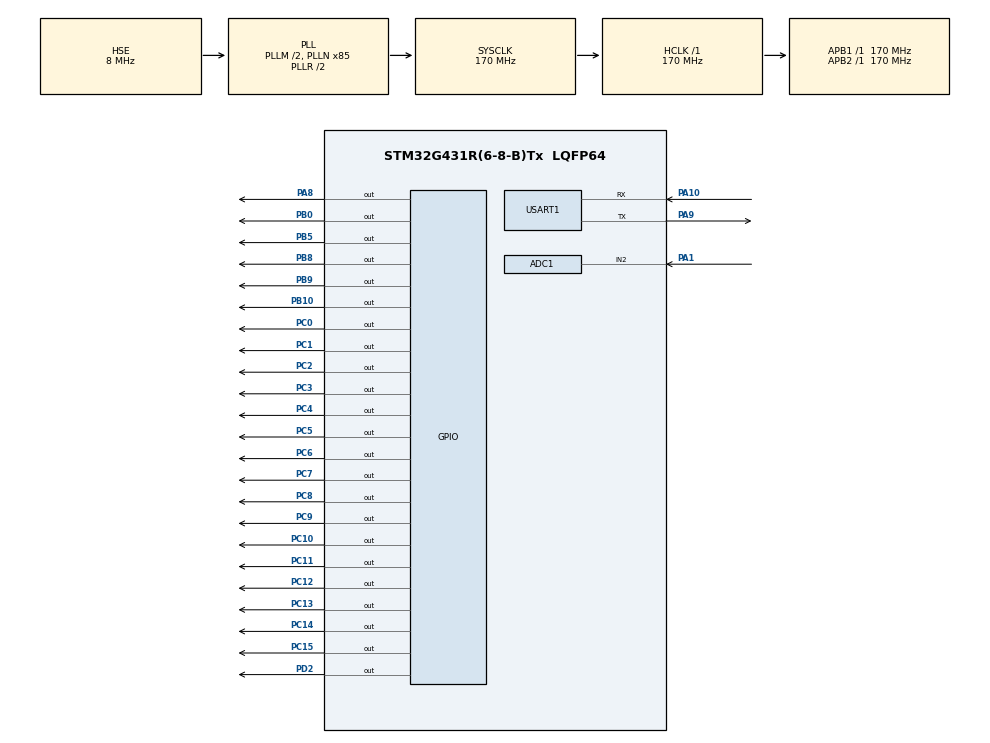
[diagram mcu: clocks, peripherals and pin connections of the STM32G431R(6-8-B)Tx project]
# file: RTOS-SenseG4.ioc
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ADC1.Channel-0\#ChannelRegularConversion=ADC_CHANNEL_2
ADC1.ContinuousConvMode=DISABLE
ADC1.NbrOfConversion=1
ADC1.NbrOfConversionFlag=1
ADC1.OffsetNumber-0\#ChannelRegularConversion=ADC_OFFSET_NONE
ADC1.Rank-0\#ChannelRegularConversion=1
ADC1.SamplingTime-0\#ChannelRegularConversion=ADC_SAMPLETIME_247CYCLES_5
ADC1.master=1
FREERTOS.Mutexes01=mutex_lcd,Dynamic,NULL;mutex_dht,Dynamic,NULL
FREERTOS.Queues01=Queue_LED_Cmd,8,1,1,Dynamic,NULL,NULL;Queue_UART_RX,16,32,1,Dynamic,NULL,NULL
FREERTOS.Tasks01=defaultTask,24,128,StartDefaultTask,Default,NULL,Dynamic,NULL,NULL;Task_UART_Cmd,40,256,StartTask_UART_Cmd,Default,NULL,Dynamic,NULL,NULL;Task_Sensor_Sam,32,256,StartTask_Sensor_Sample,Default,NULL,Dynamic,NULL,NULL;Task_LED_Ctrl,24,128,StartTask_LED_Ctrl,Default,NULL,Dynamic,NULL,NULL;Task_LCD_Refres,8,256,StartTask_LCD_Refresh,Default,NULL,Dynamic,NULL,NULL
FREERTOS.configTOTAL_HEAP_SIZE=6144
Mcu.Family=STM32G4
Mcu.Name=STM32G431R(6-8-B)Tx
Mcu.Package=LQFP64
NVIC.PriorityGroup=NVIC_PRIORITYGROUP_4
NVIC.TIM4_IRQn=true\:15\:0\:false\:false\:true\:false\:false\:true\:true
NVIC.TimeBase=TIM4_IRQn
NVIC.TimeBaseIP=TIM4
NVIC.USART1_IRQn=true\:5\:0\:true\:false\:true\:true\:true\:true\:true
PA1.Mode=IN2-Single-Ended
PA1.Signal=ADC1_IN2
PA10.Mode=Asynchronous
PA10.Signal=USART1_RX
PA13.Mode=Serial_Wire
PA13.Signal=SYS_JTMS-SWDIO
PA14.Mode=Serial_Wire
PA14.Signal=SYS_JTCK-SWCLK
PA8.Signal=GPIO_Output
PA9.Mode=Asynchronous
PA9.Signal=USART1_TX
PB0.Signal=GPIO_Output
PB10.PinState=GPIO_PIN_SET
PB10.Signal=GPIO_Output
PB5.Signal=GPIO_Output
PB8-BOOT0.Signal=GPIO_Output
PB9.Signal=GPIO_Output
PC0.Signal=GPIO_Output
PC1.Signal=GPIO_Output
PC10.PinState=GPIO_PIN_RESET
PC10.Signal=GPIO_Output
PC11.PinState=GPIO_PIN_RESET
PC11.Signal=GPIO_Output
PC12.PinState=GPIO_PIN_RESET
PC12.Signal=GPIO_Output
PC13.PinState=GPIO_PIN_RESET
PC13.Signal=GPIO_Output
PC14-OSC32_IN.PinState=GPIO_PIN_RESET
PC14-OSC32_IN.Signal=GPIO_Output
PC15-OSC32_OUT.PinState=GPIO_PIN_RESET
PC15-OSC32_OUT.Signal=GPIO_Output
PC2.Signal=GPIO_Output
PC3.Signal=GPIO_Output
PC4.Signal=GPIO_Output
PC5.Signal=GPIO_Output
PC6.Signal=GPIO_Output
PC7.Signal=GPIO_Output
PC8.PinState=GPIO_PIN_RESET
PC8.Signal=GPIO_Output
PC9.PinState=GPIO_PIN_RESET
PC9.Signal=GPIO_Output
PD2.Signal=GPIO_Output
PF0-OSC_IN.Mode=HSE-External-Oscillator
PF0-OSC_IN.Signal=RCC_OSC_IN
PF1-OSC_OUT.Mode=HSE-External-Oscillator
PF1-OSC_OUT.Signal=RCC_OSC_OUT
ProjectManager.HeapSize=0x200
ProjectManager.StackSize=0x400
ProjectManager.TargetToolchain=Makefile
RCC.ADC12Freq_Value=170000000
RCC.AHBFreq_Value=170000000
RCC.APB1Freq_Value=170000000
RCC.APB1TimFreq_Value=170000000
RCC.APB2Freq_Value=170000000
RCC.APB2TimFreq_Value=170000000
RCC.CortexFreq_Value=170000000
RCC.EXTERNAL_CLOCK_VALUE=12288000
RCC.HCLKFreq_Value=170000000
RCC.HSE_VALUE=8000000
RCC.HSI48_VALUE=48000000
RCC.HSI_VALUE=16000000
RCC.LSE_VALUE=32768
RCC.PLLM=RCC_PLLM_DIV2
RCC.PLLN=85
RCC.PLLSourceVirtual=RCC_PLLSOURCE_HSE
RCC.SYSCLKFreq_VALUE=170000000
RCC.SYSCLKSource=RCC_SYSCLKSOURCE_PLLCLK
RCC.USBFreq_Value=170000000
RCC.VCOOutputFreq_Value=340000000
USART1.VirtualMode-Asynchronous=VM_ASYNC
VP_FREERTOS_VS_CMSIS_V2.Mode=CMSIS_V2
VP_SYS_VS_DBSignals.Mode=DisableDeadBatterySignals
VP_SYS_VS_tim4.Mode=TIM4
board=custom

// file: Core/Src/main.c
/* USER CODE BEGIN Header */
/**
  ******************************************************************************
  * @file           : main.c
  * @brief          : Main program body
  * @project        : STM32G431 FreeRTOS Multi-Sensor Data Collector
  * @hardware       : CT117E-M4
  ******************************************************************************
  * @attention
  *
  * Copyright (c) 2026 STMicroelectronics.
  * All rights reserved.
  *
  * This software is licensed under terms that can be found in the LICENSE file
  * in the root directory of this software component.
  * If no LICENSE file comes with this software, it is provided AS-IS.
  ******************************************************************************
  */
/* USER CODE END Header */
#include "main.h"
#include "cmsis_os.h"
#include "adc.h"
#include "usart.h"
#include "gpio.h"

/* USER CODE BEGIN Includes */
#include "led.h"
#include "usart.h"
extern uint16_t usart_rx_idx;
#include "cmd.h"
#include "adc.h"
#include "lcd.h"
#include "lcd.h"
#include "dht11.h"
#include <stdio.h>
/* USER CODE END Includes */

/* USER CODE BEGIN PD */
#define DATA_REFRESH_DELAY 500U
/* USER CODE END PD */

/* USER CODE BEGIN PV */
float g_adc_val;
uint8_t g_led_cmd;
uint8_t g_temp, g_humi;
/* USER CODE END PV */

void SystemClock_Config(void);
void MX_FREERTOS_Init(void);

int main(void)
{

  /* MCU Configuration--------------------------------------------------------*/

  /* Reset of all peripherals, Initializes the Flash interface and the Systick. */
  HAL_Init();

  /* Configure the system clock */
  // SystemClock_Config(); // HSE unavailable, use HSI 16MHz

  /* Initialize all configured peripherals */
  MX_GPIO_Init();
  MX_USART1_UART_Init();
  MX_ADC1_Init();
  /* USER CODE BEGIN 2 */
  LED_AllOff();
  LCD_Init();
  LCD_Clear(Black);
  USART_StartReceiveIT();

  printf("====================================\r\n");
  printf("STM32G431 Multi-Sensor Terminal OK\r\n");
  printf("UART: 115200 8N1\r\n");
  printf("CMD: led on / led off / data\r\n");
  printf("====================================\r\n");

  LCD_ShowString(0, 0, "FreeRTOS Sensor Collector");
  DHT11_Init();

  /* Init scheduler */
  USART_StartReceiveIT();
  printf("System boot OK\r\n");

  osKernelInitialize();  /* Call init function for freertos objects (in freertos.c) */
  MX_FREERTOS_Init();

  /* Start scheduler */
  osKernelStart();

  /* We should never get here as control is now taken by the scheduler */
  /* Infinite loop */
  while (1)
  {

    /* USER CODE BEGIN 3 */
    /* Bare-metal code removed - handled by FreeRTOS tasks */
  }
  /* USER CODE END 3 */
}

void SystemClock_Config(void)
{
  RCC_OscInitTypeDef RCC_OscInitStruct = {0};
  RCC_ClkInitTypeDef RCC_ClkInitStruct = {0};

  /** Configure the main internal regulator output voltage
  */
  HAL_PWREx_ControlVoltageScaling(PWR_REGULATOR_VOLTAGE_SCALE1_BOOST);

  /** Initializes the RCC Oscillators according to the specified parameters
  * in the RCC_OscInitTypeDef structure.
  */
  RCC_OscInitStruct.OscillatorType = RCC_OSCILLATORTYPE_HSE;
  RCC_OscInitStruct.HSEState = RCC_HSE_ON;
  RCC_OscInitStruct.PLL.PLLState = RCC_PLL_ON;
  RCC_OscInitStruct.PLL.PLLSource = RCC_PLLSOURCE_HSE;
  RCC_OscInitStruct.PLL.PLLM = RCC_PLLM_DIV2;
  RCC_OscInitStruct.PLL.PLLN = 85;
  RCC_OscInitStruct.PLL.PLLP = RCC_PLLP_DIV2;
  RCC_OscInitStruct.PLL.PLLQ = RCC_PLLQ_DIV2;
  RCC_OscInitStruct.PLL.PLLR = RCC_PLLR_DIV2;
  if (HAL_RCC_OscConfig(&RCC_OscInitStruct) != HAL_OK)
  {
    Error_Handler();
  }

  /** Initializes the CPU, AHB and APB buses clocks
  */
  RCC_ClkInitStruct.ClockType = RCC_CLOCKTYPE_HCLK|RCC_CLOCKTYPE_SYSCLK
                              |RCC_CLOCKTYPE_PCLK1|RCC_CLOCKTYPE_PCLK2;
  RCC_ClkInitStruct.SYSCLKSource = RCC_SYSCLKSOURCE_PLLCLK;
  RCC_ClkInitStruct.AHBCLKDivider = RCC_SYSCLK_DIV1;
  RCC_ClkInitStruct.APB1CLKDivider = RCC_HCLK_DIV1;
  RCC_ClkInitStruct.APB2CLKDivider = RCC_HCLK_DIV1;

  if (HAL_RCC_ClockConfig(&RCC_ClkInitStruct, FLASH_LATENCY_4) != HAL_OK)
  {
    Error_Handler();
  }
}

void HAL_TIM_PeriodElapsedCallback(TIM_HandleTypeDef *htim)
{
  if (htim->Instance == TIM4) {
    HAL_IncTick();
  }
}

void Error_Handler(void)
{
  __disable_irq();
  while (1)
  {
  }
}

#ifdef  USE_FULL_ASSERT
/**
  * @brief  Reports the name of the source file and the source line number
  *         where the assert_param error has occurred.
  * @param  file: pointer to the source file name
  * @param  line: assert_param error line source number
  * @retval None
  */
void assert_failed(uint8_t *file, uint32_t line)
{
  /* USER CODE BEGIN 6 */
  printf("Assert Err: File %s Line %ld\r\n", file, line);
  /* USER CODE END 6 */
}
#endif /* USE_FULL_ASSERT */

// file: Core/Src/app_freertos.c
/* USER CODE BEGIN Header */
/**
  ******************************************************************************
  * File Name          : app_freertos.c
  * Description        : Code for freertos applications
  ******************************************************************************
  * @attention
  *
  * Copyright (c) 2026 STMicroelectronics.
  * All rights reserved.
  *
  * This software is licensed under terms that can be found in the LICENSE file
  * in the root directory of this software component.
  * If no LICENSE file comes with this software, it is provided AS-IS.
  *
  ******************************************************************************
  */
/* USER CODE END Header */

#include "FreeRTOS.h"
#include "task.h"
#include "main.h"
#include "cmsis_os.h"

/* USER CODE BEGIN Includes */
#include "led.h"
#include "usart.h"
#include "adc.h"
#include "lcd.h"
#include "dht11.h"
#include <string.h>
#include <stdio.h>
/* USER CODE END Includes */

/* USER CODE BEGIN Variables */
extern float g_adc_val;
extern uint8_t g_led_cmd;
extern uint8_t g_temp, g_humi;
/* USER CODE END Variables */
/* Definitions for defaultTask */
osThreadId_t defaultTaskHandle;
const osThreadAttr_t defaultTask_attributes = {
  .name = "defaultTask",
  .priority = (osPriority_t) osPriorityNormal,
  .stack_size = 128 * 4
};
/* Definitions for Task_UART_Cmd */
osThreadId_t Task_UART_CmdHandle;
const osThreadAttr_t Task_UART_Cmd_attributes = {
  .name = "Task_UART_Cmd",
  .priority = (osPriority_t) osPriorityHigh,
  .stack_size = 256 * 4
};
/* Definitions for Task_Sensor_Sam */
osThreadId_t Task_Sensor_SamHandle;
const osThreadAttr_t Task_Sensor_Sam_attributes = {
  .name = "Task_Sensor_Sam",
  .priority = (osPriority_t) osPriorityAboveNormal,
  .stack_size = 256 * 4
};
/* Definitions for Task_LED_Ctrl */
osThreadId_t Task_LED_CtrlHandle;
const osThreadAttr_t Task_LED_Ctrl_attributes = {
  .name = "Task_LED_Ctrl",
  .priority = (osPriority_t) osPriorityNormal,
  .stack_size = 128 * 4
};
/* Definitions for Task_LCD_Refres */
osThreadId_t Task_LCD_RefresHandle;
const osThreadAttr_t Task_LCD_Refres_attributes = {
  .name = "Task_LCD_Refres",
  .priority = (osPriority_t) osPriorityLow,
  .stack_size = 256 * 4
};
/* Definitions for Queue_LED_Cmd */
osMessageQueueId_t Queue_LED_CmdHandle;
const osMessageQueueAttr_t Queue_LED_Cmd_attributes = {
  .name = "Queue_LED_Cmd"
};
/* Definitions for Queue_UART_RX */
osMessageQueueId_t Queue_UART_RXHandle;
const osMessageQueueAttr_t Queue_UART_RX_attributes = {
  .name = "Queue_UART_RX"
};
/* Definitions for mutex_lcd */
osMutexId_t mutex_lcdHandle;
const osMutexAttr_t mutex_lcd_attributes = {
  .name = "mutex_lcd"
};
/* Definitions for mutex_dht */
osMutexId_t mutex_dhtHandle;
const osMutexAttr_t mutex_dht_attributes = {
  .name = "mutex_dht"
};

void StartDefaultTask(void *argument);
void StartTask_UART_Cmd(void *argument);
void StartTask_Sensor_Sample(void *argument);
void StartTask_LED_Ctrl(void *argument);
void StartTask_LCD_Refresh(void *argument);

void MX_FREERTOS_Init(void); /* (MISRA C 2004 rule 8.1) */

void MX_FREERTOS_Init(void) {
  /* Create the mutex(es) */
  /* creation of mutex_lcd */
  mutex_lcdHandle = osMutexNew(&mutex_lcd_attributes);

  /* creation of mutex_dht */
  mutex_dhtHandle = osMutexNew(&mutex_dht_attributes);

  /* Create the queue(s) */
  /* creation of Queue_LED_Cmd */
  Queue_LED_CmdHandle = osMessageQueueNew (8, 1, &Queue_LED_Cmd_attributes);

  /* creation of Queue_UART_RX */
  Queue_UART_RXHandle = osMessageQueueNew (16, 32, &Queue_UART_RX_attributes);

  /* Create the thread(s) */
  /* creation of defaultTask */
  defaultTaskHandle = osThreadNew(StartDefaultTask, NULL, &defaultTask_attributes);

  /* creation of Task_UART_Cmd */
  Task_UART_CmdHandle = osThreadNew(StartTask_UART_Cmd, NULL, &Task_UART_Cmd_attributes);

  /* creation of Task_Sensor_Sam */
  Task_Sensor_SamHandle = osThreadNew(StartTask_Sensor_Sample, NULL, &Task_Sensor_Sam_attributes);

  /* creation of Task_LED_Ctrl */
  Task_LED_CtrlHandle = osThreadNew(StartTask_LED_Ctrl, NULL, &Task_LED_Ctrl_attributes);

  /* creation of Task_LCD_Refres */
  Task_LCD_RefresHandle = osThreadNew(StartTask_LCD_Refresh, NULL, &Task_LCD_Refres_attributes);

}

void StartDefaultTask(void *argument)
{
  for(;;)
  {
    osDelay(1);
  }
}

void StartTask_UART_Cmd(void *argument)
{
    /* USER CODE BEGIN StartTask_UART_Cmd */
  char rx_buf[32];
  for(;;)
  {
    if (osMessageQueueGet(Queue_UART_RXHandle, rx_buf, NULL, osWaitForever) == osOK)
    {
      if (strncmp(rx_buf, "LED_ON", 6) == 0)
      {
        g_led_cmd = 1;
        osMessageQueuePut(Queue_LED_CmdHandle, &g_led_cmd, 0, 0);
      }
      else if (strncmp(rx_buf, "LED_OFF", 7) == 0)
      {
        g_led_cmd = 0;
        osMessageQueuePut(Queue_LED_CmdHandle, &g_led_cmd, 0, 0);
      }
      else if (strncmp(rx_buf, "data", 4) == 0)
      {
        printf("[DATA] POT: %d.%02d V, Temp: %d C, Humi: %d%%\r\n",
               (int)g_adc_val, (int)((g_adc_val - (int)g_adc_val) * 100 + 0.5f),
               g_temp, g_humi);
      }
      else
      {
        printf("[WARN] Unknown: %s\r\n", rx_buf);
      }
    }
  }
  /* USER CODE END StartTask_UART_Cmd */
}

void StartTask_Sensor_Sample(void *argument)
{
    /* USER CODE BEGIN StartTask_Sensor_Sample */
  for(;;)
  {
    g_adc_val = Get_ADC_POT();
    osMutexAcquire(mutex_dhtHandle, osWaitForever);
    if (DHT11_ReadData(&g_temp, &g_humi) != HAL_OK) { g_temp = 0xFF; g_humi = 0xFF; }
    osMutexRelease(mutex_dhtHandle);
    int vw = (int)g_adc_val;
    int vf = (int)((g_adc_val - vw) * 100 + 0.5f);
    if (vf < 0) vf = -vf;
    printf("POT: %d.%02d V | T:%d H:%d\r\n", vw, vf, g_temp, g_humi);
    osDelay(500);
  }
  /* USER CODE END StartTask_Sensor_Sample */
}

void StartTask_LED_Ctrl(void *argument)
{
    /* USER CODE BEGIN StartTask_LED_Ctrl */
  uint8_t cmd;
  for(;;)
  {
    if (osMessageQueueGet(Queue_LED_CmdHandle, &cmd, NULL, osWaitForever) == osOK)
    {
      osMutexAcquire(mutex_lcdHandle, osWaitForever);
      if (cmd == 1) { LED_On(7); printf("[OK] LED8 ON\r\n"); }
      else          { LED_Off(7); printf("[OK] LED8 OFF\r\n"); }
      osMutexRelease(mutex_lcdHandle);
    }
  }
  /* USER CODE END StartTask_LED_Ctrl */
}

void StartTask_LCD_Refresh(void *argument)
{
    /* USER CODE BEGIN StartTask_LCD_Refresh */
  char lcd_buf[48];
  for(;;)
  {
    osMutexAcquire(mutex_lcdHandle, osWaitForever);
    int vw = (int)g_adc_val;
    int vf = (int)((g_adc_val - vw) * 100 + 0.5f);
    if (vf < 0) vf = -vf;
    sprintf(lcd_buf, "POT: %d.%02dV T:%d H:%d%%", vw, vf, g_temp, g_humi);
    LCD_ClearLine(Line1);
    LCD_DisplayStringLine(Line1, (u8*)lcd_buf);
    osMutexRelease(mutex_lcdHandle);
    osDelay(200);
  }
  /* USER CODE END StartTask_LCD_Refresh */
}
